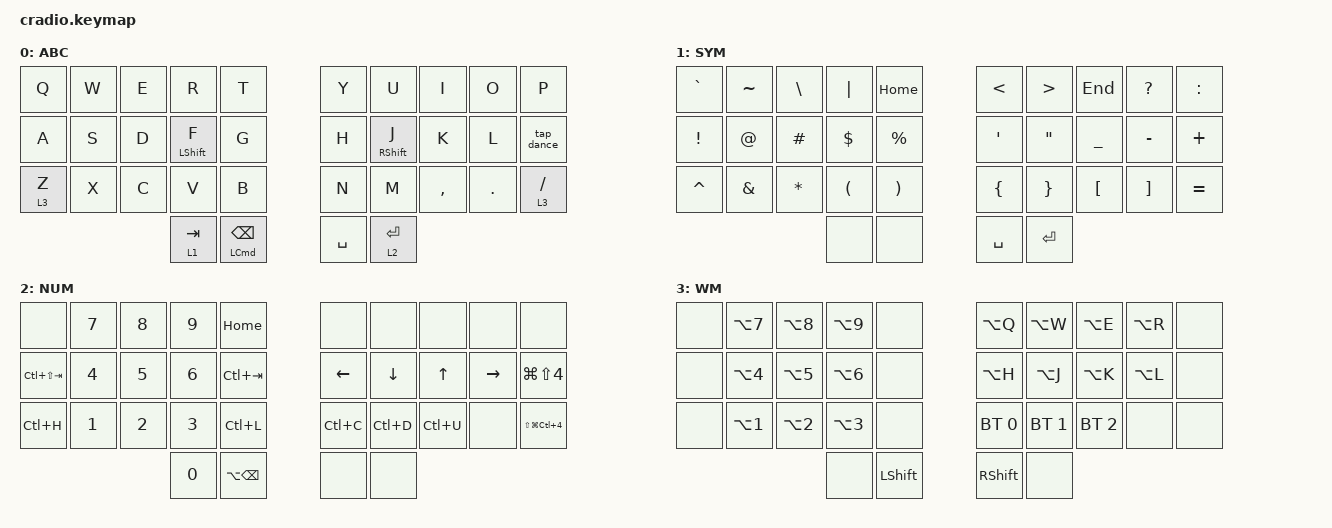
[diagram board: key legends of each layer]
// Copyright (c) 2022 The ZMK Contributors
// SPDX-License-Identifier: MIT

#include <behaviors.dtsi>
#include <dt-bindings/zmk/bt.h>
#include <dt-bindings/zmk/keys.h>

&mt { tapping-term-ms = <150>; };

&lt { tapping-term-ms = <150>; };

/ {
    behaviors {
        tap_dance: tap_dance {
            compatible = "zmk,behavior-tap-dance";
            label = "TAP_DANCE";
            #binding-cells = <0>;
            tapping-term-ms = <150>;
            bindings = <&kp SEMICOLON>, <&caps_word>;
        };

        modtapbalance: modtapbalance {
            compatible = "zmk,behavior-hold-tap";
            label = "MODTAPBALANCE";
            bindings = <&kp>, <&kp>;

            #binding-cells = <2>;
            tapping-term-ms = <160>;
            flavor = "balanced";
        };

        layertapbalance: layertapbalance {
            compatible = "zmk,behavior-hold-tap";
            label = "LAYERTAPBALANCE";
            bindings = <&mo>, <&kp>;

            #binding-cells = <2>;
            tapping-term-ms = <160>;
            flavor = "balanced";
        };
    };

    conditional_layers { compatible = "zmk,conditional-layers"; };

    combos {
        compatible = "zmk,combos";

        combo_esc {
            bindings = <&kp ESCAPE>;
            key-positions = <12 13>;
        };
    };

    keymap {
        compatible = "zmk,keymap";

        default_layer {
            bindings = <
&kp Q                 &kp W  &kp E  &kp R                        &kp T                 &kp Y      &kp U                         &kp I      &kp O    &kp P
&kp A                 &kp S  &kp D  &modtapbalance LEFT_SHIFT F  &kp G                 &kp H      &modtapbalance RIGHT_SHIFT J  &kp K      &kp L    &tap_dance
&layertapbalance 3 Z  &kp X  &kp C  &kp V                        &kp B                 &kp N      &kp M                         &kp COMMA  &kp DOT  &layertapbalance 3 SLASH
                                    &lt 1 TAB                    &mt LCMD BACKSPACE    &kp SPACE  &lt 2 ENTER
            >;

            label = "ABC";
        };

        symbol_layer {
            bindings = <
&kp GRAVE        &kp TILDE      &kp BACKSLASH  &kp PIPE              &kp HOME                 &kp LESS_THAN     &kp GREATER_THAN   &kp END           &kp QUESTION       &kp COLON
&kp EXCLAMATION  &kp AT_SIGN    &kp HASH       &kp DOLLAR            &kp PERCENT              &kp SINGLE_QUOTE  &kp DOUBLE_QUOTES  &kp UNDERSCORE    &kp MINUS          &kp PLUS
&kp CARET        &kp AMPERSAND  &kp ASTERISK   &kp LEFT_PARENTHESIS  &kp RIGHT_PARENTHESIS    &kp LEFT_BRACE    &kp RIGHT_BRACE    &kp LEFT_BRACKET  &kp RIGHT_BRACKET  &kp EQUAL
                                               &none                 &none                    &kp SPACE         &kp ENTER
            >;

            label = "SYM";
        };

        number_layer {
            bindings = <
&none            &kp N7        &kp NUMBER_8  &kp NUMBER_9  &kp HOME             &none      &none      &none      &none      &none
&kp LC(LS(TAB))  &kp NUMBER_4  &kp NUMBER_5  &kp NUMBER_6  &kp LC(TAB)          &kp LEFT   &kp DOWN   &kp UP     &kp RIGHT  &kp LG(LS(NUMBER_4))
&kp LC(H)        &kp NUMBER_1  &kp NUMBER_2  &kp NUMBER_3  &kp LC(L)            &kp LC(C)  &kp LC(D)  &kp LC(U)  &none      &kp LS(LG(LC(NUMBER_4)))
                                             &kp NUMBER_0  &kp LA(BACKSPACE)    &none      &none
            >;

            label = "NUM";
        };

        wm_layer {
            bindings = <
&none  &kp LA(NUMBER_7)  &kp LA(NUMBER_8)  &kp LA(NUMBER_9)  &none             &kp LA(Q)        &kp LA(W)     &kp LA(E)     &kp LA(R)  &none
&none  &kp LA(NUMBER_4)  &kp LA(NUMBER_5)  &kp LA(NUMBER_6)  &none             &kp LA(H)        &kp LA(J)     &kp LA(K)     &kp LA(L)  &none
&none  &kp LA(NUMBER_1)  &kp LA(NUMBER_2)  &kp LA(NUMBER_3)  &none             &bt BT_SEL 0     &bt BT_SEL 1  &bt BT_SEL 2  &none      &none
                                           &none             &kp LEFT_SHIFT    &kp RIGHT_SHIFT  &none
            >;

            label = "WM";
        };
    };
};
